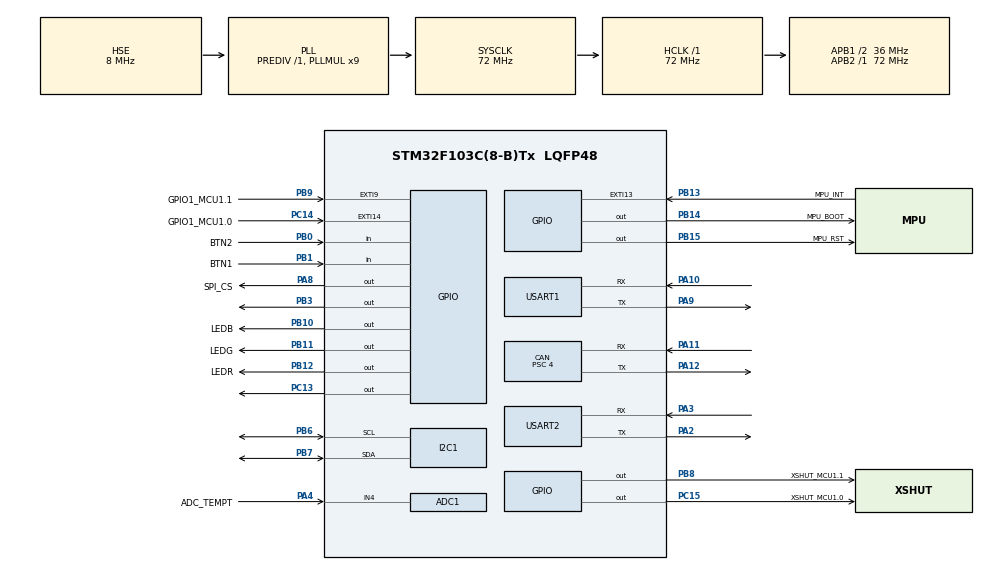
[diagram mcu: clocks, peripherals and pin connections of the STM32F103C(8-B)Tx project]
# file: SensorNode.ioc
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ADC1.Channel-2\#ChannelRegularConversion=ADC_CHANNEL_4
ADC1.NbrOfConversionFlag=1
ADC1.Rank-2\#ChannelRegularConversion=1
ADC1.SamplingTime-2\#ChannelRegularConversion=ADC_SAMPLETIME_1CYCLE_5
ADC1.master=1
CAN.BS1=CAN_BS1_13TQ
CAN.BS2=CAN_BS2_4TQ
CAN.CalculateBaudRate=500000
CAN.CalculateTimeBit=2000
CAN.CalculateTimeQuantum=111.11111111111111
CAN.Prescaler=4
CAN.SJW=CAN_SJW_2TQ
Mcu.Family=STM32F1
Mcu.Name=STM32F103C(8-B)Tx
Mcu.Package=LQFP48
NVIC.CAN1_RX1_IRQn=true\:0\:0\:false\:false\:true\:true\:true\:true
NVIC.PriorityGroup=NVIC_PRIORITYGROUP_4
PA10.Mode=Asynchronous
PA10.Signal=USART1_RX
PA11.Mode=CAN_Activate
PA11.Signal=CAN_RX
PA12.Mode=CAN_Activate
PA12.Signal=CAN_TX
PA2.Mode=Asynchronous
PA2.Signal=USART2_TX
PA3.Mode=Asynchronous
PA3.Signal=USART2_RX
PA4.GPIO_Label=ADC_TEMPT
PA4.Signal=SharedAnalog_PA4
PA8.GPIO_Label=SPI_CS
PA8.Signal=GPIO_Output
PA9.Mode=Asynchronous
PA9.Signal=USART1_TX
PB0.GPIO_Label=BTN2
PB0.Signal=GPIO_Input
PB1.GPIO_Label=BTN1
PB1.Signal=GPIO_Input
PB10.GPIO_Label=LEDB
PB10.PinState=GPIO_PIN_SET
PB10.Signal=GPIO_Output
PB11.GPIO_Label=LEDG
PB11.PinState=GPIO_PIN_SET
PB11.Signal=GPIO_Output
PB12.GPIO_Label=LEDR
PB12.PinState=GPIO_PIN_SET
PB12.Signal=GPIO_Output
PB13.GPIO_Label=MPU_INT
PB13.Signal=GPXTI13
PB14.GPIO_Label=MPU_BOOT
PB14.Signal=GPIO_Output
PB15.GPIO_Label=MPU_RST
PB15.Signal=GPIO_Output
PB3.PinState=GPIO_PIN_SET
PB3.Signal=GPIO_Output
PB6.Mode=I2C
PB6.Signal=I2C1_SCL
PB7.Mode=I2C
PB7.Signal=I2C1_SDA
PB8.GPIO_Label=XSHUT_MCU1.1
PB8.Signal=GPIO_Output
PB9.GPIO_Label=GPIO1_MCU1.1
PB9.Signal=GPXTI9
PC13-TAMPER-RTC.Signal=GPIO_Output
PC14-OSC32_IN.GPIO_Label=GPIO1_MCU1.0
PC14-OSC32_IN.Signal=GPXTI14
PC15-OSC32_OUT.GPIO_Label=XSHUT_MCU1.0
PC15-OSC32_OUT.Signal=GPIO_Output
PD0-OSC_IN.Mode=HSE-External-Oscillator
PD0-OSC_IN.Signal=RCC_OSC_IN
PD1-OSC_OUT.Mode=HSE-External-Oscillator
PD1-OSC_OUT.Signal=RCC_OSC_OUT
ProjectManager.HeapSize=0x200
ProjectManager.StackSize=0x400
ProjectManager.TargetToolchain=STM32CubeIDE
RCC.ADCPresc=RCC_ADCPCLK2_DIV6
RCC.AHBFreq_Value=72000000
RCC.APB1CLKDivider=RCC_HCLK_DIV2
RCC.APB1Freq_Value=36000000
RCC.APB1TimFreq_Value=72000000
RCC.APB2Freq_Value=72000000
RCC.APB2TimFreq_Value=72000000
RCC.HCLKFreq_Value=72000000
RCC.PLLMUL=RCC_PLL_MUL9
RCC.PLLSourceVirtual=RCC_PLLSOURCE_HSE
RCC.SYSCLKFreq_VALUE=72000000
RCC.SYSCLKSource=RCC_SYSCLKSOURCE_PLLCLK
RCC.USBFreq_Value=72000000
SH.SharedAnalog_PA4.0=GPIO_Analog
SH.SharedAnalog_PA4.1=ADC1_IN4,IN4
USART1.VirtualMode=VM_ASYNC
USART2.VirtualMode=VM_ASYNC
board=custom

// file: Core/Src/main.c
/* USER CODE BEGIN Header */
/**
  ******************************************************************************
  * @file           : main.c
  * @brief          : Main program body
  ******************************************************************************
  * @attention
  *
  * Copyright (c) 2023 STMicroelectronics.
  * All rights reserved.
  *
  * This software is licensed under terms that can be found in the LICENSE file
  * in the root directory of this software component.
  * If no LICENSE file comes with this software, it is provided AS-IS.
  *
  ******************************************************************************
  */
/* USER CODE END Header */
#include "main.h"

/* USER CODE BEGIN Includes */
#include "uart.h"
#include "can_diagnostic_tester.h"
/* USER CODE END Includes */

ADC_HandleTypeDef hadc1;

CAN_HandleTypeDef hcan;

I2C_HandleTypeDef hi2c1;

UART_HandleTypeDef huart1;
UART_HandleTypeDef huart2;

/* USER CODE BEGIN PV */
/* CAN Tx variables */
const uint8_t first_value = 0x01;
const uint8_t second_value = 0x02;
CAN_TxHeaderTypeDef CANTxHeader;
uint8_t CANTxBuffer[] = {0x01, 0x02, 0x00, 0x00, 0x00, 0x00, 0x00, 0x00};
uint32_t CANTxMailboxes = CAN_TX_MAILBOX0;
/* CAN Rx variables */
extern uint8_t CANRxBuffer[];
extern uint8_t CANDiagnosticResponseRcvFlag;
extern CAN_RxHeaderTypeDef CANRxHeader;
/* USER CODE END PV */

void SystemClock_Config(void);
static void MX_GPIO_Init(void);
static void MX_ADC1_Init(void);
static void MX_CAN_Init(void);
static void MX_I2C1_Init(void);
static void MX_USART1_UART_Init(void);
static void MX_USART2_UART_Init(void);

/* USER CODE BEGIN 0 */
void security()
{
	if (securityAccessSeedResponseCheck(CANRxBuffer))
	{
		HAL_Delay(1000);
		securityAccessUnlockRequest(&hcan);
		HAL_Delay(100);
		while (CANDiagnosticResponseRcvFlag != 1);
		CANDiagnosticResponseRcvFlag = 0;
		HAL_Delay(1000);
		if (flowControlCheck(CANRxBuffer))
		{
			HAL_GPIO_TogglePin(GPIO_Port, LEDB_Pin);
			securityRemainKeySend(&hcan);
			while (CANDiagnosticResponseRcvFlag != 1);
			CANDiagnosticResponseRcvFlag = 0;
			HAL_Delay(2000);
		}
	}
}
/* USER CODE END 0 */

int main(void)
{

  /* MCU Configuration--------------------------------------------------------*/

  /* Reset of all peripherals, Initializes the Flash interface and the Systick. */
  HAL_Init();

  /* Configure the system clock */
  SystemClock_Config();

  /* Initialize all configured peripherals */
  MX_GPIO_Init();
  MX_ADC1_Init();
  MX_CAN_Init();
  MX_I2C1_Init();
  MX_USART1_UART_Init();
  MX_USART2_UART_Init();
  /* USER CODE BEGIN 2 */
  if (HAL_CAN_Start(&hcan) != HAL_OK)
  {
	  Error_Handler();
  }
  HAL_CAN_ActivateNotification(&hcan, CAN_IT_RX_FIFO1_MSG_PENDING);
  printf("Sensor\n");
  /* USER CODE END 2 */

  /* Infinite loop */
  /* USER CODE BEGIN WHILE */
  while (1)
  {

	  readDataByIdenfierRequest (&hcan);
//	  writeShortDataByIdentifierRequest(&hcan);
// 	securityAccessSeedRequest(&hcan);
 	HAL_Delay(4000);

 	while (CANDiagnosticResponseRcvFlag != 1);
	CANDiagnosticResponseRcvFlag = 0;

	readDataByIdenfierResponseCheck(CANRxBuffer);
//	writeDataByIdenfierResponseCheck(CANRxBuffer);
//	if (securityAccessSeedResponseCheck(CANRxBuffer))
	{
//		HAL_Delay(1000);
//		securityAccessUnlockRequest(&hcan);

//		HAL_Delay(100);
//		while (CANDiagnosticResponseRcvFlag != 1);
//		CANDiagnosticResponseRcvFlag = 0;
//		HAL_Delay(1000);
//		if (flowControlCheck(CANRxBuffer))
//		{
//			HAL_GPIO_TogglePin(GPIO_Port, LEDB_Pin);
//			securityRemainKeySend(&hcan);
//
//			while (CANDiagnosticResponseRcvFlag != 1);
//			CANDiagnosticResponseRcvFlag = 0;
//			HAL_Delay(2000);
//		}
	}
     /* USER CODE END WHILE */

   }
}

void SystemClock_Config(void)
{
  RCC_OscInitTypeDef RCC_OscInitStruct = {0};
  RCC_ClkInitTypeDef RCC_ClkInitStruct = {0};
  RCC_PeriphCLKInitTypeDef PeriphClkInit = {0};

  /** Initializes the RCC Oscillators according to the specified parameters
  * in the RCC_OscInitTypeDef structure.
  */
  RCC_OscInitStruct.OscillatorType = RCC_OSCILLATORTYPE_HSE;
  RCC_OscInitStruct.HSEState = RCC_HSE_ON;
  RCC_OscInitStruct.HSEPredivValue = RCC_HSE_PREDIV_DIV1;
  RCC_OscInitStruct.HSIState = RCC_HSI_ON;
  RCC_OscInitStruct.PLL.PLLState = RCC_PLL_ON;
  RCC_OscInitStruct.PLL.PLLSource = RCC_PLLSOURCE_HSE;
  RCC_OscInitStruct.PLL.PLLMUL = RCC_PLL_MUL9;
  if (HAL_RCC_OscConfig(&RCC_OscInitStruct) != HAL_OK)
  {
    Error_Handler();
  }

  /** Initializes the CPU, AHB and APB buses clocks
  */
  RCC_ClkInitStruct.ClockType = RCC_CLOCKTYPE_HCLK|RCC_CLOCKTYPE_SYSCLK
                              |RCC_CLOCKTYPE_PCLK1|RCC_CLOCKTYPE_PCLK2;
  RCC_ClkInitStruct.SYSCLKSource = RCC_SYSCLKSOURCE_PLLCLK;
  RCC_ClkInitStruct.AHBCLKDivider = RCC_SYSCLK_DIV1;
  RCC_ClkInitStruct.APB1CLKDivider = RCC_HCLK_DIV2;
  RCC_ClkInitStruct.APB2CLKDivider = RCC_HCLK_DIV1;

  if (HAL_RCC_ClockConfig(&RCC_ClkInitStruct, FLASH_LATENCY_2) != HAL_OK)
  {
    Error_Handler();
  }
  PeriphClkInit.PeriphClockSelection = RCC_PERIPHCLK_ADC;
  PeriphClkInit.AdcClockSelection = RCC_ADCPCLK2_DIV6;
  if (HAL_RCCEx_PeriphCLKConfig(&PeriphClkInit) != HAL_OK)
  {
    Error_Handler();
  }
}

static void MX_ADC1_Init(void)
{

  ADC_ChannelConfTypeDef sConfig = {0};

  /** Common config
  */
  hadc1.Instance = ADC1;
  hadc1.Init.ScanConvMode = ADC_SCAN_DISABLE;
  hadc1.Init.ContinuousConvMode = DISABLE;
  hadc1.Init.DiscontinuousConvMode = DISABLE;
  hadc1.Init.ExternalTrigConv = ADC_SOFTWARE_START;
  hadc1.Init.DataAlign = ADC_DATAALIGN_RIGHT;
  hadc1.Init.NbrOfConversion = 1;
  if (HAL_ADC_Init(&hadc1) != HAL_OK)
  {
    Error_Handler();
  }

  /** Configure Regular Channel
  */
  sConfig.Channel = ADC_CHANNEL_4;
  sConfig.Rank = ADC_REGULAR_RANK_1;
  sConfig.SamplingTime = ADC_SAMPLETIME_1CYCLE_5;
  if (HAL_ADC_ConfigChannel(&hadc1, &sConfig) != HAL_OK)
  {
    Error_Handler();
  }

}

static void MX_CAN_Init(void)
{

  hcan.Instance = CAN1;
  hcan.Init.Prescaler = 4;
  hcan.Init.Mode = CAN_MODE_NORMAL;
  hcan.Init.SyncJumpWidth = CAN_SJW_2TQ;
  hcan.Init.TimeSeg1 = CAN_BS1_13TQ;
  hcan.Init.TimeSeg2 = CAN_BS2_4TQ;
  hcan.Init.TimeTriggeredMode = DISABLE;
  hcan.Init.AutoBusOff = DISABLE;
  hcan.Init.AutoWakeUp = DISABLE;
  hcan.Init.AutoRetransmission = DISABLE;
  hcan.Init.ReceiveFifoLocked = DISABLE;
  hcan.Init.TransmitFifoPriority = DISABLE;
  if (HAL_CAN_Init(&hcan) != HAL_OK)
  {
    Error_Handler();
  }
  /* USER CODE BEGIN CAN_Init 2 */
  CAN_FilterTypeDef canfilterconfig;

  canfilterconfig.FilterActivation = CAN_FILTER_ENABLE;
  canfilterconfig.FilterBank = 12;  // which filter bank to use from the assigned ones
  canfilterconfig.FilterFIFOAssignment = CAN_FILTER_FIFO1;
  canfilterconfig.FilterIdHigh = CAN_DIAGNOSTIC_RESPONSE_ID<<5;
  canfilterconfig.FilterIdLow = 0;
  canfilterconfig.FilterMaskIdHigh = CAN_DIAGNOSTIC_RESPONSE_ID<<5;
  canfilterconfig.FilterMaskIdLow = 0x0000;
  canfilterconfig.FilterMode = CAN_FILTERMODE_IDMASK;
  canfilterconfig.FilterScale = CAN_FILTERSCALE_32BIT;
  canfilterconfig.SlaveStartFilterBank = 13;  // how many filters to assign to the CAN1 (master can)

  HAL_CAN_ConfigFilter(&hcan, &canfilterconfig);
  /* USER CODE END CAN_Init 2 */

}

static void MX_I2C1_Init(void)
{

  hi2c1.Instance = I2C1;
  hi2c1.Init.ClockSpeed = 100000;
  hi2c1.Init.DutyCycle = I2C_DUTYCYCLE_2;
  hi2c1.Init.OwnAddress1 = 0;
  hi2c1.Init.AddressingMode = I2C_ADDRESSINGMODE_7BIT;
  hi2c1.Init.DualAddressMode = I2C_DUALADDRESS_DISABLE;
  hi2c1.Init.OwnAddress2 = 0;
  hi2c1.Init.GeneralCallMode = I2C_GENERALCALL_DISABLE;
  hi2c1.Init.NoStretchMode = I2C_NOSTRETCH_DISABLE;
  if (HAL_I2C_Init(&hi2c1) != HAL_OK)
  {
    Error_Handler();
  }

}

static void MX_USART1_UART_Init(void)
{

  huart1.Instance = USART1;
  huart1.Init.BaudRate = 115200;
  huart1.Init.WordLength = UART_WORDLENGTH_8B;
  huart1.Init.StopBits = UART_STOPBITS_1;
  huart1.Init.Parity = UART_PARITY_NONE;
  huart1.Init.Mode = UART_MODE_TX_RX;
  huart1.Init.HwFlowCtl = UART_HWCONTROL_NONE;
  huart1.Init.OverSampling = UART_OVERSAMPLING_16;
  if (HAL_UART_Init(&huart1) != HAL_OK)
  {
    Error_Handler();
  }

}

static void MX_USART2_UART_Init(void)
{

  huart2.Instance = USART2;
  huart2.Init.BaudRate = 115200;
  huart2.Init.WordLength = UART_WORDLENGTH_8B;
  huart2.Init.StopBits = UART_STOPBITS_1;
  huart2.Init.Parity = UART_PARITY_NONE;
  huart2.Init.Mode = UART_MODE_TX_RX;
  huart2.Init.HwFlowCtl = UART_HWCONTROL_NONE;
  huart2.Init.OverSampling = UART_OVERSAMPLING_16;
  if (HAL_UART_Init(&huart2) != HAL_OK)
  {
    Error_Handler();
  }

}

static void MX_GPIO_Init(void)
{
  GPIO_InitTypeDef GPIO_InitStruct = {0};

  /* GPIO Ports Clock Enable */
  __HAL_RCC_GPIOC_CLK_ENABLE();
  __HAL_RCC_GPIOD_CLK_ENABLE();
  __HAL_RCC_GPIOA_CLK_ENABLE();
  __HAL_RCC_GPIOB_CLK_ENABLE();

  /*Configure GPIO pin Output Level */
  HAL_GPIO_WritePin(GPIOC, GPIO_PIN_13|XSHUT_MCU1_0_Pin, GPIO_PIN_RESET);

  /*Configure GPIO pin Output Level */
  HAL_GPIO_WritePin(GPIOB, LEDB_Pin|LEDG_Pin|LEDR_Pin|GPIO_PIN_3, GPIO_PIN_SET);

  /*Configure GPIO pin Output Level */
  HAL_GPIO_WritePin(GPIOB, MPU_BOOT_Pin|MPU_RST_Pin|XSHUT_MCU1_1_Pin, GPIO_PIN_RESET);

  /*Configure GPIO pin Output Level */
  HAL_GPIO_WritePin(SPI_CS_GPIO_Port, SPI_CS_Pin, GPIO_PIN_RESET);

  /*Configure GPIO pins : PC13 XSHUT_MCU1_0_Pin */
  GPIO_InitStruct.Pin = GPIO_PIN_13|XSHUT_MCU1_0_Pin;
  GPIO_InitStruct.Mode = GPIO_MODE_OUTPUT_PP;
  GPIO_InitStruct.Pull = GPIO_NOPULL;
  GPIO_InitStruct.Speed = GPIO_SPEED_FREQ_LOW;
  HAL_GPIO_Init(GPIOC, &GPIO_InitStruct);

  /*Configure GPIO pin : GPIO1_MCU1_0_Pin */
  GPIO_InitStruct.Pin = GPIO1_MCU1_0_Pin;
  GPIO_InitStruct.Mode = GPIO_MODE_IT_RISING;
  GPIO_InitStruct.Pull = GPIO_NOPULL;
  HAL_GPIO_Init(GPIO1_MCU1_0_GPIO_Port, &GPIO_InitStruct);

  /*Configure GPIO pins : BTN2_Pin BTN1_Pin */
  GPIO_InitStruct.Pin = BTN2_Pin|BTN1_Pin;
  GPIO_InitStruct.Mode = GPIO_MODE_INPUT;
  GPIO_InitStruct.Pull = GPIO_NOPULL;
  HAL_GPIO_Init(GPIOB, &GPIO_InitStruct);

  /*Configure GPIO pins : LEDB_Pin LEDG_Pin LEDR_Pin MPU_BOOT_Pin
                           MPU_RST_Pin PB3 XSHUT_MCU1_1_Pin */
  GPIO_InitStruct.Pin = LEDB_Pin|LEDG_Pin|LEDR_Pin|MPU_BOOT_Pin
                          |MPU_RST_Pin|GPIO_PIN_3|XSHUT_MCU1_1_Pin;
  GPIO_InitStruct.Mode = GPIO_MODE_OUTPUT_PP;
  GPIO_InitStruct.Pull = GPIO_NOPULL;
  GPIO_InitStruct.Speed = GPIO_SPEED_FREQ_LOW;
  HAL_GPIO_Init(GPIOB, &GPIO_InitStruct);

  /*Configure GPIO pins : MPU_INT_Pin GPIO1_MCU1_1_Pin */
  GPIO_InitStruct.Pin = MPU_INT_Pin|GPIO1_MCU1_1_Pin;
  GPIO_InitStruct.Mode = GPIO_MODE_IT_RISING;
  GPIO_InitStruct.Pull = GPIO_NOPULL;
  HAL_GPIO_Init(GPIOB, &GPIO_InitStruct);

  /*Configure GPIO pin : SPI_CS_Pin */
  GPIO_InitStruct.Pin = SPI_CS_Pin;
  GPIO_InitStruct.Mode = GPIO_MODE_OUTPUT_PP;
  GPIO_InitStruct.Pull = GPIO_NOPULL;
  GPIO_InitStruct.Speed = GPIO_SPEED_FREQ_LOW;
  HAL_GPIO_Init(SPI_CS_GPIO_Port, &GPIO_InitStruct);

}

void Error_Handler(void)
{
  __disable_irq();
  while (1)
  {
  }
}
